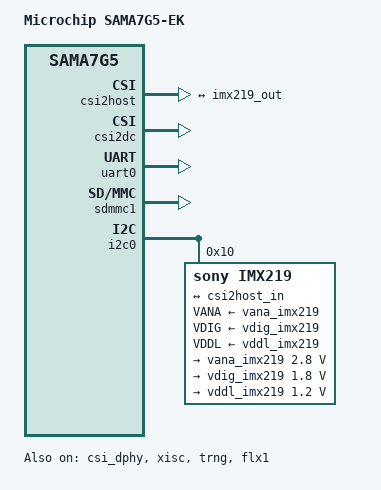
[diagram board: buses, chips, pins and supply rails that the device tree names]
// SPDX-License-Identifier: (GPL-2.0+ OR MIT)
/*
 * at91-sama7g5ek.dts - Device Tree file for SAMA7G5-EK board
 *
 *  Copyright (c) 2020, Microchip Technology Inc. and its subsidiaries
 *
 *  Author: Eugen Hristev <eugen.hristev@microchip.com>
 *
 */
/dts-v1/;
#include "sama7g5.dtsi"
#include <dt-bindings/mfd/atmel-flexcom.h>

/ {
	model = "Microchip SAMA7G5-EK";
	compatible = "microchip,sama7g5ek", "microchip,sama7g5", "microchip,sama7";

	chosen {
		bootargs = "console=ttyS0,115200 earlycon earlyprintk=serial,ttyS0 ignore_loglevel rw root=/dev/mmcblk0p2 memtest=0 rootfstype=ext4 rootwait cma=16M";
	};

	aliases {
		i2c0 = &i2c0;
	};

	clocks {
		slow_xtal {
			clock-frequency = <32768>;
		};

		main_xtal {
			clock-frequency = <24000000>;
		};
	};
};

&csi_dphy {
	status = "okay";
};

&csi2host {
	status = "okay";

	port@1 {
		reg = <1>;
		csi2host_in: endpoint {
			remote-endpoint = <&imx219_out>;
			data-lanes = <1 2>;
			bus-type = <4>;
			clock-lanes = <0>;
		};
	};
};

&csi2dc {
	status = "okay";
};

&xisc {
	status = "okay";
};

&uart0 {
	status = "okay";
};

&gic {
	status = "okay";
};

&sdmmc1 {
	status = "okay";
};

&trng {
	status = "okay";
};

&flx1 {
	atmel,flexcom-mode = <ATMEL_FLEXCOM_MODE_TWI>;
	status = "okay";

	i2c0: i2c@600 {
		compatible = "microchip,sam9x60-i2c";
		reg = <0x600 0x200>;
		interrupts = <GIC_SPI 39 IRQ_TYPE_LEVEL_HIGH>;
		#address-cells = <1>;
		#size-cells = <0>;
		clocks = <&pmc PMC_TYPE_PERIPHERAL 39>;
		atmel,fifo-size = <32>;
		i2c-analog-filter;
		i2c-digital-filter;
		i2c-digital-filter-width-ns = <35>;
		status = "okay";
	};
};

&i2c0 {
	/*
	 * Camera sensor add-on board Raspberry Pi v2.1 Camera extension
	 *
	 * Sensor i2c address is fixed at 0x10
	 *
	 * 24 Mhz crystal is soldered on the board and hardwired to sensor
	 *
	 * Power supplies are present on the board and supplied by 3v3
	 * rail from sama7g5ek PMIC
	 */
	imx219: camera@10 {
		compatible = "sony,imx219";
		reg = <0x10>;
		clocks = <&imx219_clk>;
		clock-names = "xclk";
		VANA-supply = <&vana_imx219>; /* 2.8v */
		VDIG-supply = <&vdig_imx219>; /* 1.8v */
		VDDL-supply = <&vddl_imx219>; /* 1.2v */
		status = "okay";

		imx219_clk: camera-clk {
			compatible = "fixed-clock";
			#clock-cells = <0>;
			clock-frequency = <24000000>;
		};

		port {
			imx219_out: endpoint {
				remote-endpoint = <&csi2host_in>;
				clock-lanes = <0>;
				data-lanes = <1 2>;
				link-frequencies = /bits/ 64 <456000000>;
				clock-noncontinuous;
			};
		};

		vana_imx219: fixed-regulator-vana {
			compatible = "regulator-fixed";

			regulator-name = "VANA-supply";
			regulator-min-microvolt = <2800000>;
			regulator-max-microvolt = <2800000>;
			regulator-always-on;
			regulator-boot-on;
			status = "okay";
		};

		vdig_imx219: fixed-regulator-vdig {
			compatible = "regulator-fixed";

			regulator-name = "VDIG-supply";
			regulator-min-microvolt = <1800000>;
			regulator-max-microvolt = <1800000>;
			regulator-always-on;
			regulator-boot-on;
			vin-supply = <&vana_imx219>;
			status = "okay";
		};

		vddl_imx219: fixed-regulator-vddl {
			compatible = "regulator-fixed";

			regulator-name = "VDDL-supply";
			regulator-min-microvolt = <1200000>;
			regulator-max-microvolt = <1200000>;
			regulator-always-on;
			regulator-boot-on;
			vin-supply = <&vana_imx219>;
			status = "okay";
		};
	};
};

